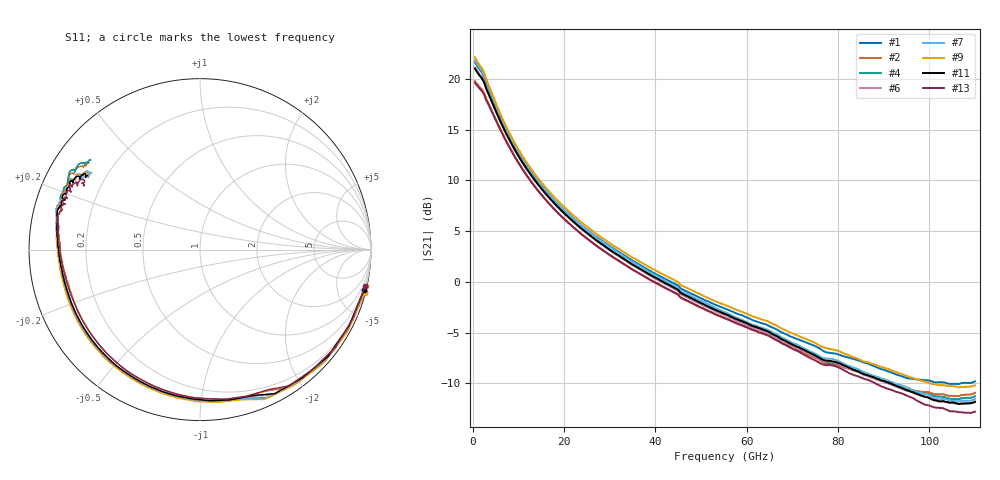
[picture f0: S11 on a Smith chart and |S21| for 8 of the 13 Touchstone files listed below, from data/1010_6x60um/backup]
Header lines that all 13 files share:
!Date = 8/23/2019
!Test duration(min) = 0.15
!Test = S-Parameters
!MPTS version = 8.91.5
!State File = C:\Data\PNA\20190821205423\S-Parameters_2019-08-23.sta
!Cal File =
!ComputerName = CMPE-LAB-6
!Comments =
!Input Power(dBm) = -13.00
!Device ID = EG0520U_1010_6x60_2SDBCB2EV
!Technology = QPHT09
!Lot/Wafer = 1915934D06
!Gate Size = 360
!Mask = EG0520
!Cal Standards = GaAs BCB
!Cal Kit = EG2306
!Job Number = 20190821205423
!Device Type = FET
!set_Vg(v) = -1.500
# GHz  S  DB  R  50
Fixed: Attenuation = 0, Z0 = 50
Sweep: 500 MHz to 110 GHz
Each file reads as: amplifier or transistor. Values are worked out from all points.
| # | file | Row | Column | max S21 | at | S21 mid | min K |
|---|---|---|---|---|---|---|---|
| 1 | EG0520U_1010_6x60_2SDBCB2EV_1915934D06_RC2943_2.5Vd_36mA.s2p | 29 | 43 | 21.6 dB | 500 MHz | -2.7 dB at 55.5 GHz | -0.85 |
| 2 | EG0520U_1010_6x60_2SDBCB2EV_1915934D06_RC2943_3Vd_18mA.s2p | 29 | 43 | 19.8 dB | 500 MHz | -3.6 dB at 55.5 GHz | -1.18 |
| 3 | EG0520U_1010_6x60_2SDBCB2EV_1915934D06_RC2943_3Vd_54mA.s2p | 29 | 43 | 22.6 dB | 500 MHz | -2.3 dB at 55.5 GHz | -1.04 |
| 4 | EG0520U_1010_6x60_2SDBCB2EV_1915934D06_RC2943_4Vd_27mA.s2p | 29 | 43 | 21.0 dB | 500 MHz | -3.3 dB at 55.5 GHz | -1.46 |
| 5 | EG0520U_1010_6x60_2SDBCB2EV_1915934D06_RC2952_3.5Vd_18mA.s2p | 29 | 52 | 19.9 dB | 500 MHz | -3.7 dB at 55.5 GHz | -2.22 |
| 6 | EG0520U_1010_6x60_2SDBCB2EV_1915934D06_RC2952_4Vd_27mA.s2p | 29 | 52 | 21.1 dB | 500 MHz | -3.3 dB at 55.5 GHz | -2.32 |
| 7 | EG0520U_1010_6x60_2SDBCB2EV_1915934D06_RC2952_4Vd_36mA.s2p | 29 | 52 | 21.8 dB | 500 MHz | -3.0 dB at 55.5 GHz | -2.20 |
| 8 | EG0520U_1010_6x60_2SDBCB2EV_1915934D06_RC2952_4Vd_45mA.s2p | 29 | 52 | 22.3 dB | 500 MHz | -2.8 dB at 55.5 GHz | -2.19 |
| 9 | EG0520U_1010_6x60_2SDBCB2EV_1915934D06_RC4034_2.5Vd_45mA.s2p | 40 | 34 | 22.1 dB | 500 MHz | -2.3 dB at 55.5 GHz | -1.08 |
| 10 | EG0520U_1010_6x60_2SDBCB2EV_1915934D06_RC4034_3.5Vd_45mA.s2p | 40 | 34 | 22.2 dB | 500 MHz | -2.5 dB at 55.5 GHz | -1.70 |
| 11 | EG0520U_1010_6x60_2SDBCB2EV_1915934D06_RC4034_4Vd_27mA.s2p | 40 | 34 | 21.0 dB | 500 MHz | -3.2 dB at 55.5 GHz | -2.00 |
| 12 | EG0520U_1010_6x60_2SDBCB2EV_1915934D06_RC7325_3.5Vd_27mA.s2p | 73 | 25 | 20.9 dB | 500 MHz | -2.9 dB at 55.5 GHz | -1.83 |
| 13 | EG0520U_1010_6x60_2SDBCB2EV_1915934D06_RC7325_4Vd_18mA.s2p | 73 | 25 | 19.6 dB | 500 MHz | -3.6 dB at 55.5 GHz | -2.32 |
